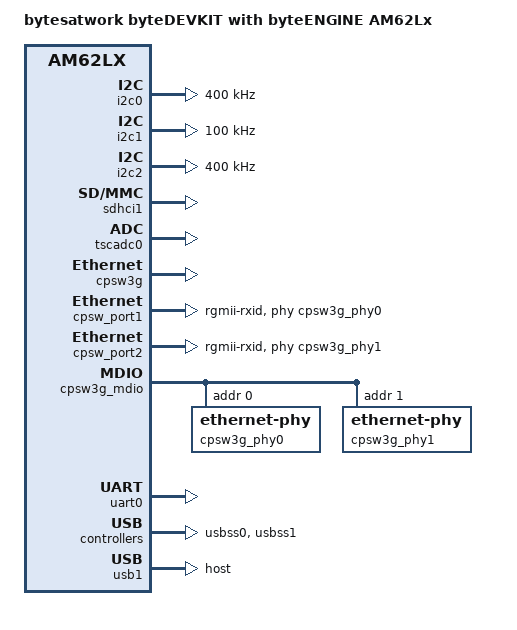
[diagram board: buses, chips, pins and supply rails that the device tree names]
// SPDX-License-Identifier: GPL-2.0-only or MIT
/*
 * Copyright (C) 2026 bytesatwork AG - https://www.bytesatwork.io
 *
 * Based on dts/upstream/src/arm64/ti/k3-am62l3-evm.dts
 * Copyright (C) 2025 Texas Instruments Incorporated - https://www.ti.com/
 */

/dts-v1/;

#include "k3-am62l3-byteengine.dtsi"

/ {
	compatible = "ti,am62lx-bytedevkit", "ti,am62l3";
	model = "bytesatwork byteDEVKIT with byteENGINE AM62Lx";

	aliases {
		mmc0 = &sdhci0;
		mmc1 = &sdhci1;
	};

	chosen {
		stdout-path = &uart0;
	};
};

&gpio0 {
	bootph-all;
};

&i2c0 {
	pinctrl-names = "default";
	pinctrl-0 = <&i2c0_pins_default>;
	clock-frequency = <400000>;
	status = "okay";
};

&i2c1 {
	pinctrl-names = "default";
	pinctrl-0 = <&i2c1_pins_default>;
	clock-frequency = <100000>;
	status = "okay";
};

&i2c2 {
	pinctrl-names = "default";
	pinctrl-0 = <&i2c2_pins_default>;
	clock-frequency = <400000>;
	status = "okay";
};

&pmx0 {
	i2c0_pins_default: i2c0-default-pins {
		pinctrl-single,pins = <
			AM62LX_IOPAD(0x01cc, PIN_INPUT_PULLUP, 0) /* (B7) I2C0_SCL */
			AM62LX_IOPAD(0x01d0, PIN_INPUT_PULLUP, 0) /* (A7) I2C0_SDA */
		>;
		bootph-all;
	};

	i2c1_pins_default: i2c1-default-pins {
		pinctrl-single,pins = <
			AM62LX_IOPAD(0x01d4, PIN_INPUT_PULLUP, 0) /* (D7) I2C1_SCL */
			AM62LX_IOPAD(0x01d8, PIN_INPUT_PULLUP, 0) /* (A6) I2C1_SDA */
		>;
		bootph-all;
	};

	i2c2_pins_default: i2c2-default-pins {
		pinctrl-single,pins = <
			AM62LX_IOPAD(0x01dc, PIN_INPUT_PULLUP, 0) /* (B8) I2C2_SCL */
			AM62LX_IOPAD(0x01e0, PIN_INPUT_PULLUP, 0) /* (D8) I2C2_SDA */
		>;
	};

	mmc1_pins_default: mmc1-default-pins {
		pinctrl-single,pins = <
			AM62LX_IOPAD(0x0230, PIN_INPUT, 0) /* (Y3) MMC1_CMD */
			AM62LX_IOPAD(0x0228, PIN_OUTPUT, 0) /* (Y2) MMC1_CLK */
			AM62LX_IOPAD(0x0224, PIN_INPUT, 0) /* (AA1) MMC1_DAT0 */
			AM62LX_IOPAD(0x0220, PIN_INPUT, 0) /* (Y4) MMC1_DAT1 */
			AM62LX_IOPAD(0x021c, PIN_INPUT, 0) /* (AA2) MMC1_DAT2 */
			AM62LX_IOPAD(0x0218, PIN_INPUT, 0) /* (AB2) MMC1_DAT3 */
			AM62LX_IOPAD(0x0234, PIN_INPUT, 0) /* (B6) MMC1_SDCD */
		>;
		bootph-all;
	};

	rgmii1_pins_default: rgmii1-default-pins {
		pinctrl-single,pins = <
			AM62LX_IOPAD(0x0138, PIN_INPUT, 0) /* (Y8) RGMII1_RD0 */
			AM62LX_IOPAD(0x013c, PIN_INPUT, 0) /* (AA6) RGMII1_RD1 */
			AM62LX_IOPAD(0x0140, PIN_INPUT, 0) /* (AA8) RGMII1_RD2 */
			AM62LX_IOPAD(0x0144, PIN_INPUT, 0) /* (W8) RGMII1_RD3 */
			AM62LX_IOPAD(0x0134, PIN_INPUT, 0) /* (Y7) RGMII1_RXC */
			AM62LX_IOPAD(0x0130, PIN_INPUT, 0) /* (Y6) RGMII1_RX_CTL */
			AM62LX_IOPAD(0x0120, PIN_OUTPUT, 0) /* (AC10) RGMII1_TD0 */
			AM62LX_IOPAD(0x0124, PIN_OUTPUT, 0) /* (W13) RGMII1_TD1 */
			AM62LX_IOPAD(0x0128, PIN_OUTPUT, 0) /* (Y11) RGMII1_TD2 */
			AM62LX_IOPAD(0x012c, PIN_OUTPUT, 0) /* (AA11) RGMII1_TD3 */
			AM62LX_IOPAD(0x011c, PIN_OUTPUT, 0) /* (W11) RGMII1_TXC */
			AM62LX_IOPAD(0x0118, PIN_OUTPUT, 0) /* (AB11) RGMII1_TX_CTL */
		>;
	};

	rgmii2_pins_default: rgmii2-default-pins {
		pinctrl-single,pins = <
			AM62LX_IOPAD(0x0170, PIN_INPUT, 0) /* (AB9) RGMII2_RD0 */
			AM62LX_IOPAD(0x0174, PIN_INPUT, 0) /* (AC9) RGMII2_RD1 */
			AM62LX_IOPAD(0x0178, PIN_INPUT, 0) /* (AB10) RGMII2_RD2 */
			AM62LX_IOPAD(0x017c, PIN_INPUT, 0) /* (AB8) RGMII2_RD3 */
			AM62LX_IOPAD(0x016c, PIN_INPUT, 0) /* (AC7) RGMII2_RXC */
			AM62LX_IOPAD(0x0168, PIN_INPUT, 0) /* (AC8) RGMII2_RX_CTL */
			AM62LX_IOPAD(0x0158, PIN_OUTPUT, 0) /* (AC12) RGMII2_TD0 */
			AM62LX_IOPAD(0x015c, PIN_OUTPUT, 0) /* (AB13) RGMII2_TD1 */
			AM62LX_IOPAD(0x0160, PIN_OUTPUT, 0) /* (AA12) RGMII2_TD2 */
			AM62LX_IOPAD(0x0164, PIN_OUTPUT, 0) /* (AA13) RGMII2_TD3 */
			AM62LX_IOPAD(0x0154, PIN_OUTPUT, 0) /* (Y13) RGMII2_TXC */
			AM62LX_IOPAD(0x0150, PIN_OUTPUT, 0) /* (AB12) RGMII2_TX_CTL */
		>;
	};

	mdio1_pins_default: mdio1-default-pins {
		pinctrl-single,pins = <
			AM62LX_IOPAD(0x014c, PIN_OUTPUT, 0) /* (AC15) MDIO0_MDC */
			AM62LX_IOPAD(0x0148, PIN_INPUT, 0) /* (AC13) MDIO0_MDIO */
		>;
	};

	uart0_pins_default: uart0-default-pins {
		pinctrl-single,pins = <
			AM62LX_IOPAD(0x01b4, PIN_INPUT, 0) /* (D13) UART0_RXD */
			AM62LX_IOPAD(0x01b8, PIN_OUTPUT, 0) /* (C13) UART0_TXD */
		>;
		bootph-all;
	};

	uart0_pins_wakeup: uart0-wakeup-pins {
		pinctrl-single,pins = <
			AM62LX_IOPAD(0x01b4, PIN_INPUT | PIN_WKUP_EN, 0) /* (D13) UART0_RXD */
			AM62LX_IOPAD(0x01b8, PIN_OUTPUT, 0) /* (C13) UART0_TXD */
		>;
	};

	usb1_default_pins: usb1-default-pins {
		pinctrl-single,pins = <
			AM62LX_IOPAD(0x0248, PIN_INPUT | PIN_DS_PULLUD_ENABLE | PIN_DS_PULL_UP, 0) /* (A5) USB1_DRVVBUS */
		>;
	};

	usr_button_pins_default: usr-button-default-pins {
		pinctrl-single,pins = <
			AM62LX_IOPAD(0x01ac, PIN_INPUT, 7) /* (E12) SPI0_D0.GPIO0_90 */
		>;
	};
};

&sdhci1 {
	/* SD/MMC */
	pinctrl-names = "default";
	pinctrl-0 = <&mmc1_pins_default>;
	cap-sd-highspeed;
	max-frequency = <50000000>;
	sd-uhs-sdr25;
	sd-uhs-sdr50;
	disable-wp;
	status = "okay";
	bootph-all;
};

&tscadc0 {
	status = "okay";

	adc {
		ti,adc-channels = <0 1 2 3>;
	};
};

&cpsw3g {
	pinctrl-names = "default";
	pinctrl-0 = <&rgmii1_pins_default>,
		    <&rgmii2_pins_default>;
	status = "okay";
};

&cpsw_port1 {
	phy-mode = "rgmii-rxid";
	phy-handle = <&cpsw3g_phy0>;
};

&cpsw_port2 {
	phy-mode = "rgmii-rxid";
	phy-handle = <&cpsw3g_phy1>;
};

&cpsw3g_mdio {
	pinctrl-names = "default";
	pinctrl-0 = <&mdio1_pins_default>;
	status = "okay";

	cpsw3g_phy0: ethernet-phy@0 {
		reg = <0>;
		ti,rx-internal-delay = <DP83867_RGMIIDCTL_2_00_NS>;
		ti,fifo-depth = <DP83867_PHYCR_FIFO_DEPTH_4_B_NIB>;
		ti,min-output-impedance;
	};

	cpsw3g_phy1: ethernet-phy@1 {
		reg = <1>;
		ti,rx-internal-delay = <DP83867_RGMIIDCTL_2_00_NS>;
		ti,fifo-depth = <DP83867_PHYCR_FIFO_DEPTH_4_B_NIB>;
		ti,min-output-impedance;
	};
};

&uart0 {
	pinctrl-0 = <&uart0_pins_default>;
	pinctrl-1 = <&uart0_pins_wakeup>;
	pinctrl-names = "default", "wakeup";
	wakeup-source;
	status = "okay";
	bootph-all;
};

&usbss0 {
	status = "okay";
	ti,vbus-divider;
};

&usb0 {
	usb-role-switch;
	bootph-all;
};

&usbss1 {
	status = "okay";
	ti,vbus-divider;
};

&usb1 {
	dr_mode = "host";
	pinctrl-names = "default";
	pinctrl-0 = <&usb1_default_pins>;
};

&main_bcdma {
	bootph-all;
};

&main_pktdma {
	bootph-all;
};
